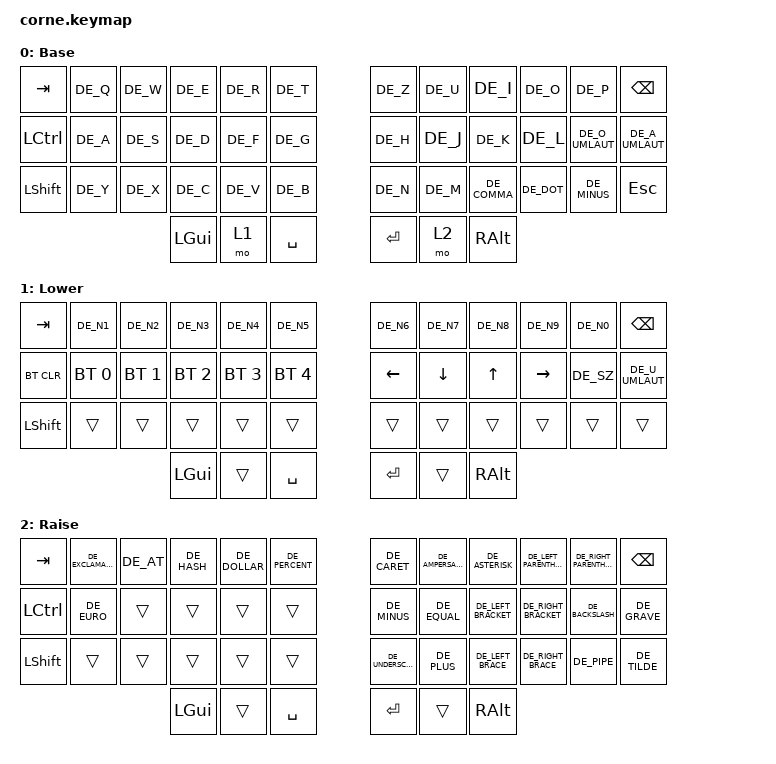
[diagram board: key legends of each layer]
#include <behaviors.dtsi>
#include <dt-bindings/zmk/keys.h>
#include <dt-bindings/zmk/bt.h>
#include <locale/keys_de.h>

/ {
        keymap {
                compatible = "zmk,keymap";

                default_layer {
                        display-name = "Base";
                        bindings = <
   &kp TAB   &kp DE_Q &kp DE_W &kp DE_E &kp DE_R &kp DE_T   &kp DE_Z &kp DE_U &kp DE_I     &kp DE_O   &kp DE_P        &kp BSPC
   &kp LCTRL &kp DE_A &kp DE_S &kp DE_D &kp DE_F &kp DE_G   &kp DE_H &kp DE_J &kp DE_K     &kp DE_L   &kp DE_O_UMLAUT &kp DE_A_UMLAUT
   &kp LSHFT &kp DE_Y &kp DE_X &kp DE_C &kp DE_V &kp DE_B   &kp DE_N &kp DE_M &kp DE_COMMA &kp DE_DOT &kp DE_MINUS    &kp ESC
                          &kp LGUI &mo 1 &kp SPACE   &kp RET &mo 2 &kp RALT
                        >;
                };

                lower_layer {
                        display-name = "Lower";
                        bindings = <
   &kp TAB    &kp DE_N1    &kp DE_N2    &kp DE_N3    &kp DE_N4    &kp DE_N5      &kp DE_N6 &kp DE_N7 &kp DE_N8 &kp DE_N9 &kp DE_N0 &kp BSPC
   &bt BT_CLR &bt BT_SEL 0 &bt BT_SEL 1 &bt BT_SEL 2 &bt BT_SEL 3 &bt BT_SEL 4   &kp LEFT  &kp DOWN  &kp UP    &kp RIGHT &kp DE_SZ &kp DE_U_UMLAUT
   &kp LSHFT  &trans       &trans       &trans       &trans       &trans         &trans    &trans    &trans    &trans    &trans    &trans
                                   &kp LGUI &trans &kp SPACE   &kp RET &trans &kp RALT
                        >;
                };

                raise_layer {
                        display-name = "Raise";
                        bindings = <
   &kp TAB   &kp DE_EXCLAMATION &kp DE_AT &kp DE_HASH &kp DE_DOLLAR &kp DE_PERCENT   &kp DE_CARET      &kp DE_AMPERSAND &kp DE_ASTERISK     &kp DE_LEFT_PARENTHESIS &kp DE_RIGHT_PARENTHESIS &kp BSPC
   &kp LCTRL &kp DE_EURO        &trans    &trans      &trans        &trans           &kp DE_MINUS      &kp DE_EQUAL     &kp DE_LEFT_BRACKET &kp DE_RIGHT_BRACKET    &kp DE_BACKSLASH         &kp DE_GRAVE
   &kp LSHFT &trans             &trans    &trans      &trans        &trans           &kp DE_UNDERSCORE &kp DE_PLUS      &kp DE_LEFT_BRACE   &kp DE_RIGHT_BRACE      &kp DE_PIPE              &kp DE_TILDE
                          &kp LGUI &trans &kp SPACE   &kp RET &trans &kp RALT
                        >;
                };

                extra_1 { status = "reserved"; };
                extra_2 { status = "reserved"; };
                extra_3 { status = "reserved"; };
        };
};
